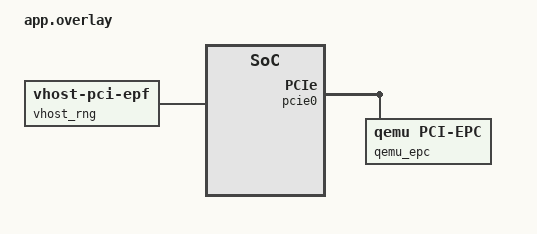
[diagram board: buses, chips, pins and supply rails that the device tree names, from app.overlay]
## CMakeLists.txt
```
# Copyright The Zephyr Project Contributors
# SPDX-License-Identifier: Apache-2.0

cmake_minimum_required(VERSION 3.28.0)

find_package(Zephyr REQUIRED HINTS $ENV{ZEPHYR_BASE})
project(vhost_pci_epf)

target_sources(app PRIVATE src/main.c src/rng.c)
```

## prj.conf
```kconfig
CONFIG_PCIE=y
CONFIG_PCIE_EPC=y
CONFIG_VHOST=y
CONFIG_LOG=y
CONFIG_TEST_RANDOM_GENERATOR=y

# Map the EPC registers and the outbound windows in addition to the DMA heap.
CONFIG_KERNEL_VM_SIZE=0x2000000
```

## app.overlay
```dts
/*
 * Copyright The Zephyr Project Contributors
 *
 * SPDX-License-Identifier: Apache-2.0
 */

/ {
	pcie0 {
		qemu_epc: epc {
			compatible = "qemu,pci-epc";
			max-functions = <8>;

			vendor-id = <0x1b36>;
			device-id = <0x0015>;

			status = "okay";
		};
	};

	vhost_rng: vhost-rng {
		compatible = "zephyr,vhost-pci-epf";
		epc = <&qemu_epc>;
		device-id = <4>; /* entropy source */
		queue-size-max = <16>;
	};
};
```

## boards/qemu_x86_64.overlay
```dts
/*
 * Copyright The Zephyr Project Contributors
 *
 * SPDX-License-Identifier: Apache-2.0
 */

#include <zephyr/dt-bindings/interrupt-controller/intel-ioapic.h>
#include <zephyr/dt-bindings/pcie/pcie.h>

#include "../app.overlay"

/* The device interrupts the endpoint on each host access to the function's BAR */
&qemu_epc {
	interrupts = <PCIE_IRQ_DETECT IRQ_TYPE_LOWEST_LEVEL_LOW 3>;
	interrupt-parent = <&intc>;
};
```

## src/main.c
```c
/*
 * Copyright The Zephyr Project Contributors
 *
 * SPDX-License-Identifier: Apache-2.0
 */

#include <zephyr/device.h>
#include <zephyr/devicetree.h>
#include <zephyr/drivers/pcie/endpoint/pcie_epc.h>
#include <zephyr/drivers/vhost.h>
#include <zephyr/kernel.h>
#include <zephyr/logging/log.h>

#include "rng.h"

LOG_MODULE_REGISTER(vhost_pci_epf_sample, LOG_LEVEL_INF);

#define VHOST_NODE DT_NODELABEL(vhost_rng)

int main(void)
{
	const struct device *vhost = DEVICE_DT_GET(VHOST_NODE);
	const struct device *epc = DEVICE_DT_GET(DT_PHANDLE(VHOST_NODE, epc));
	int err;

	/* The controller has added its endpoint function to the EPC by now */
	if (!device_is_ready(vhost)) {
		LOG_ERR("VHost device %s not ready", vhost->name);
		return 0;
	}

	err = vhost_register_virtq_ready_cb(vhost, rng_queue_ready, NULL);
	if (err != 0) {
		LOG_ERR("Failed to register ready callback for %s: %d", vhost->name, err);
		return 0;
	}

	err = vhost_register_virtq_reset_cb(vhost, rng_queue_reset, NULL);
	if (err != 0) {
		LOG_ERR("Failed to register reset callback for %s: %d", vhost->name, err);
		return 0;
	}

	LOG_INF("VHost device %s ready", vhost->name);

	/* Let the PCI host enumerate the VIRTIO PCI function */
	err = pcie_epc_start(epc);
	if (err != 0) {
		LOG_ERR("Failed to start the PCI link: %d", err);
		return 0;
	}

	LOG_INF("PCI link started, waiting for the host");

	return 0;
}
```

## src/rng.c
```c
/*
 * Copyright The Zephyr Project Contributors
 *
 * SPDX-License-Identifier: Apache-2.0
 */

#include <zephyr/devicetree.h>
#include <zephyr/drivers/vhost.h>
#include <zephyr/drivers/vhost/vringh.h>
#include <zephyr/logging/log.h>
#include <zephyr/random/random.h>
#include <zephyr/sys/barrier.h>
#include <zephyr/sys/util.h>

#include "rng.h"

LOG_MODULE_REGISTER(vhost_rng, LOG_LEVEL_INF);

/* virtio-rng has a single request queue */
#define RNG_REQUESTQ 0

#define QUEUE_SIZE_MAX DT_PROP(DT_NODELABEL(vhost_rng), queue_size_max)
#define NUM_IOVECS     16

/* Runs in the context of the controller, one invocation at a time */
static void vringh_kick_handler(struct vringh *vrh)
{
	static struct vhost_iovec riovec[NUM_IOVECS];
	static struct vhost_iovec wiovec[NUM_IOVECS];
	static struct vringh_iov riov = {
		.iov = riovec,
		.max_num = NUM_IOVECS,
	};
	static struct vringh_iov wiov = {
		.iov = wiovec,
		.max_num = NUM_IOVECS,
	};
	uint16_t head;

	while (true) {
		uint32_t total_len = 0;
		int ret;

		ret = vringh_getdesc(vrh, &riov, &wiov, &head);
		if (ret < 0) {
			LOG_ERR("vringh_getdesc failed: %d", ret);
			return;
		}

		if (ret == 0) {
			return;
		}

		/*
		 * sys_rand_get() is not cryptographically secure; a production
		 * virtio-rng backend must use a hardware entropy source.
		 */
		for (unsigned int i = 0; i < wiov.used; i++) {
			sys_rand_get(wiov.iov[i].iov_base, wiov.iov[i].iov_len);
			total_len += (uint32_t)wiov.iov[i].iov_len;
		}

		barrier_dmem_fence_full();

		ret = vringh_complete(vrh, head, total_len);
		if (ret < 0) {
			LOG_ERR("vringh_complete failed: %d", ret);
			return;
		}

		LOG_INF("Served %u random bytes", total_len);

		if (vringh_need_notify(vrh) > 0) {
			vringh_notify(vrh);
		}

		vringh_iov_reset(&riov);
		vringh_iov_reset(&wiov);
	}
}

void rng_queue_ready(const struct device *dev, uint16_t queue_id, void *user_data)
{
	static struct vringh vrh_inst;
	static struct vhost_buf desc_bufs[QUEUE_SIZE_MAX];
	int err;

	ARG_UNUSED(user_data);

	if (queue_id != RNG_REQUESTQ) {
		return;
	}

	err = vringh_init_device(&vrh_inst, dev, queue_id, desc_bufs, ARRAY_SIZE(desc_bufs),
				 vringh_kick_handler);
	if (err != 0) {
		LOG_ERR("vringh_init_device failed: %d", err);
		return;
	}

	LOG_INF("virtio-rng request queue ready");
}

void rng_queue_reset(const struct device *dev, uint16_t queue_id, void *user_data)
{
	ARG_UNUSED(dev);
	ARG_UNUSED(user_data);

	/*
	 * Requests are served to completion in the kick handler, so no
	 * descriptor is held. A backend with work in flight only records the
	 * reset here and stops it from a context of its own. The ring state is
	 * set up again when the queue becomes ready.
	 */
	if (queue_id == RNG_REQUESTQ) {
		LOG_INF("virtio-rng request queue reset");
	}
}
```

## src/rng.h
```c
/*
 * Copyright The Zephyr Project Contributors
 *
 * SPDX-License-Identifier: Apache-2.0
 */

#ifndef VHOST_PCI_EPF_SAMPLE_RNG_H_
#define VHOST_PCI_EPF_SAMPLE_RNG_H_

#include <stdint.h>

#include <zephyr/device.h>

/**
 * @brief Start the virtio-rng backend on a virtqueue that became ready
 *
 * Matches the queue ready callback of the VHost controller API.
 *
 * @param dev        VHost controller device
 * @param queue_id   Queue that became ready
 * @param user_data  Unused
 */
void rng_queue_ready(const struct device *dev, uint16_t queue_id, void *user_data);

/**
 * @brief Stop the virtio-rng backend on a virtqueue that is going away
 *
 * Matches the queue reset callback of the VHost controller API.
 *
 * @param dev        VHost controller device
 * @param queue_id   Queue that is reset
 * @param user_data  Unused
 */
void rng_queue_reset(const struct device *dev, uint16_t queue_id, void *user_data);

#endif /* VHOST_PCI_EPF_SAMPLE_RNG_H_ */
```
